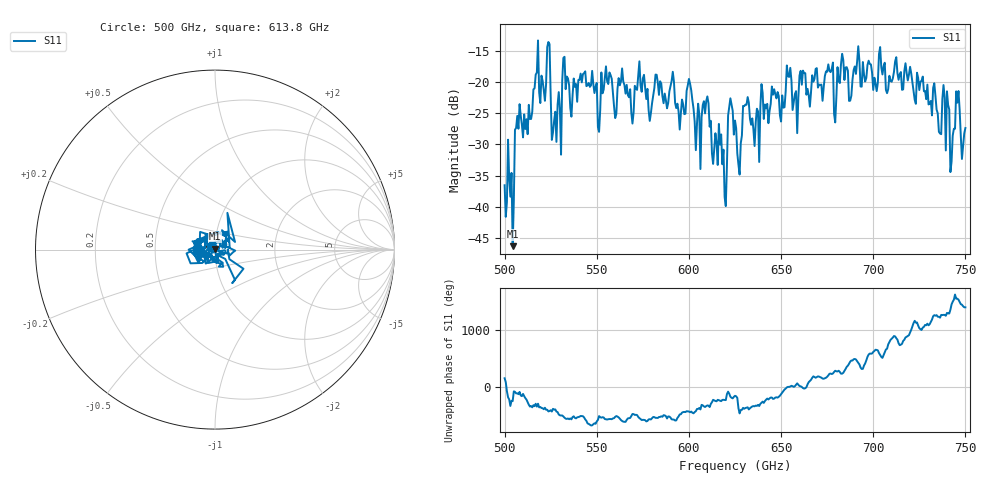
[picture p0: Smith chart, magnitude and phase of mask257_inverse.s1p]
!Created with skrf (http://scikit-rf.org).
# GHz S MA R 50.0
!freq magS11 angS11
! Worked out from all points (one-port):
!   401 points, 500 GHz to 750 GHz, reference 50 ohm
!   lowest |S11| = -46.3 dB at 504.4 GHz (marker M1), VSWR 1.01, Z = 49.8 + j0.429 ohm
!   |S11| at or under -10 dB: start of sweep to end of sweep
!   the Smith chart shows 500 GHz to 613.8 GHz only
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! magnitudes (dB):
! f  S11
! 500 GHz  -36.5
! 504.4 GHz  -46.3
! 506.9 GHz  -25.4
! 513.8 GHz  -25.9
! 516.9 GHz  -18.8
! 523.8 GHz  -13.6
! 526.9 GHz  -26.2
! 531.2 GHz  -19.8
! 562.5 GHz  -20.5
! 590.6 GHz  -19.8
! 593.8 GHz  -23.5
! 600 GHz  -19.5
! 605 GHz  -23.5
! 609.4 GHz  -23.1
! 619.4 GHz  -38.4
! 622.5 GHz  -22.6
! 625 GHz  -26.2
! 627.5 GHz  -34.8
! 630.6 GHz  -23.6
! 636.9 GHz  -24.3
! 656.2 GHz  -24.5
! 687.5 GHz  -23.0
! 691.2 GHz  -16.7
! 718.8 GHz  -19.7
! 739.4 GHz  -31.0
! 743.1 GHz  -28.6
! 745.6 GHz  -23.3
! 750 GHz  -27.4
